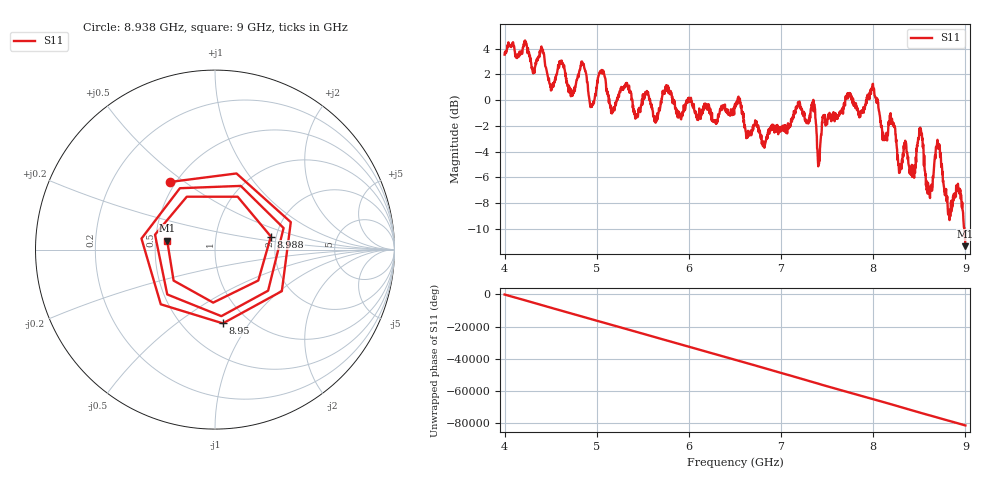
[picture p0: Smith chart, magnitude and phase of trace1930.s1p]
! Created with skrf 1.8.0 (http://scikit-rf.org).
# Hz S RI R 50.0
!freq ReS11 ImS11
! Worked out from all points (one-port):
!   1601 points, 4 GHz to 9 GHz, reference 50 ohm
!   lowest |S11| = -11.3 dB at 9 GHz (marker M1), VSWR 1.74, Z = 28.8 + j3.09 ohm
!   |S11| at or under -10 dB: 8.988426 GHz to end of sweep
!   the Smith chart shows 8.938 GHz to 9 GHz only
!   S11 on the Smith chart (normalised r, x): 8.938 GHz: 0.47, +0.44; 8.95 GHz: 0.77, -0.76; 8.988 GHz: 1.87, +0.30; 9 GHz: 0.58, +0.06
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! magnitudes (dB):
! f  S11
! 4 GHz  3.5
! 4.406 GHz  4.0
! 4.512 GHz  0.8
! 4.625 GHz  2.9
! 4.728 GHz  0.5
! 4.853 GHz  2.8
! 4.944 GHz  -0.5
! 5.05 GHz  2.3
! 5.166 GHz  -1.0
! 5.25 GHz  0.7
! 5.875 GHz  -0.9
! 6.5 GHz  -0.3
! 6.816 GHz  -3.6
! 7.125 GHz  -1.4
! 7.347 GHz  -0.5
! 7.412 GHz  -4.9
! 7.75 GHz  0.4
! 7.997 GHz  1.3
! 8.109 GHz  -3.1
! 8.375 GHz  -4.6
! 8.509 GHz  -2.4
! 8.597 GHz  -6.8
! 8.703 GHz  -3.4
! 8.822 GHz  -8.9
! 8.938 GHz  -6.9
! 8.95 GHz  -7.7
! 8.988 GHz  -9.9
! 9 GHz  -11.3
